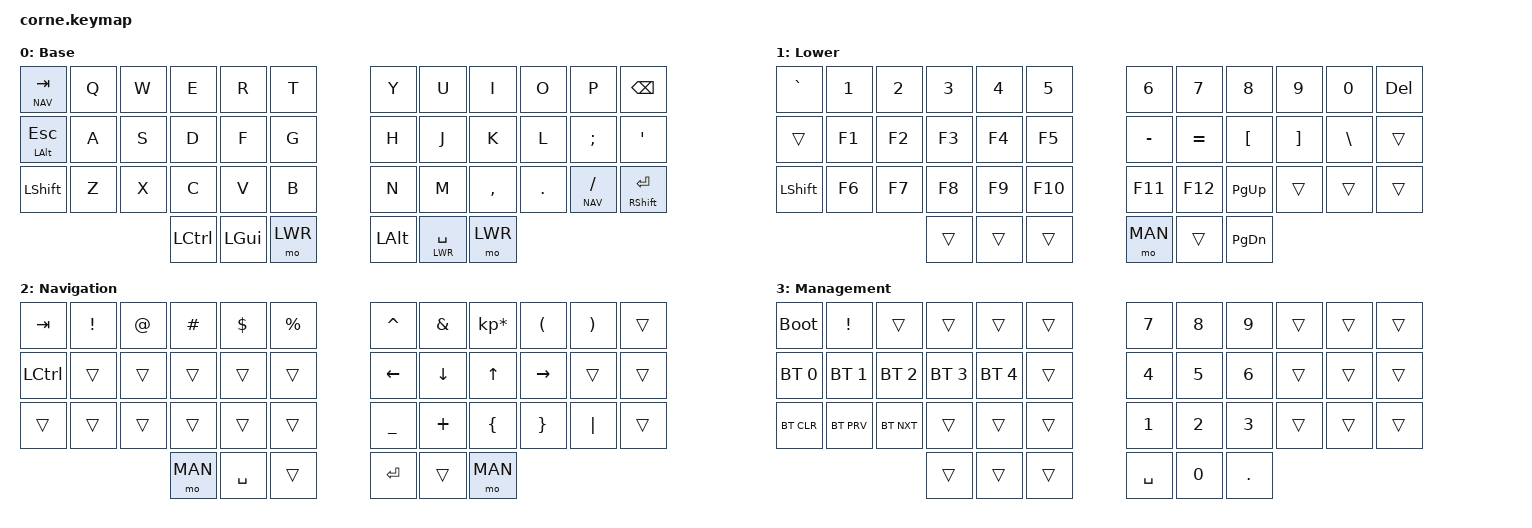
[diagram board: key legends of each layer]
/*
 * Copyright (c) 2020 The ZMK Contributors
 *
 * SPDX-License-Identifier: MIT
 */

#include <behaviors.dtsi>
#include <dt-bindings/zmk/keys.h>
#include <dt-bindings/zmk/bt.h>

#define LWR 1
#define NAV 2
#define MAN 3


/ {
        keymap {
                compatible = "zmk,keymap";

                default_layer {
// -----------------------------------------------------------------------------------------
// |  TAB     |  Q  |  W  |  E  |  R  |  T  |   |  Y  |  U   |  I  |  O  |  P     | BKSP      |
// | ESC/ALT  |  A  |  S  |  D  |  F  |  G  |   |  H  |  J   |  K  |  L  |  ;     |  '        |
// | SHFT     |  Z  |  X  |  C  |  V  |  B  |   |  N  |  M   |  ,  |  .  |  /NAV  | RET/RSHFT |
//                    | CTRL|LGUI| MO1|       | LALT | SPC  | MO1 |
                        label = "Base";
                        bindings = <
   &lt NAV TAB  &kp Q &kp W &kp E &kp R &kp T   /**/  &kp Y     &kp U          &kp I     &kp O   &kp P          &kp BSPC
   &mt LALT ESC &kp A &kp S &kp D &kp F &kp G   /**/  &kp H     &kp J          &kp K     &kp L   &kp SEMI       &kp SQT
   &kp LSHFT    &kp Z &kp X &kp C &kp V &kp B   /**/  &kp N     &kp M          &kp COMMA &kp DOT &lt NAV FSLH   &mt RSHFT RET
                    &kp LCTRL &kp LGUI &mo LWR  /**/  &kp LALT  &lt LWR SPACE  &mo LWR
                        >;
                };
                lower_layer {

// -----------------------------------------------------------------------------------------
// |  GRV |  1  |  2  |  3  |  4  |  5  |     |  6  |  7  |  8  |  9  |  0  | DEL  |
// |      | F1  | F2  | F3  | F4  | F5  |     |  -  |  =  |  [  |  ]  |  \  |      |
// | SHFT | F6  | F7  | F8  | F9  | F10 |     |  F11| F12  |PGUP|    |     |      |
//                    |     |     |     |     | MAN |      |PGDN|
                        label = "Lower";
                        bindings = <
   &kp GRAVE  &kp N1  &kp N2  &kp N3  &kp N4  &kp N5  /**/    &kp N6    &kp N7    &kp N8      &kp N9    &kp N0   &kp DEL
   &trans     &kp F1  &kp F2  &kp F3  &kp F4  &kp F5  /**/    &kp MINUS &kp EQUAL &kp LBKT    &kp RBKT  &kp BSLH &trans
   &kp LSHFT  &kp F6  &kp F7  &kp F8  &kp F9  &kp F10 /**/    &kp F11   &kp F12   &kp PG_UP   &trans    &trans   &trans
                           &trans   &trans    &trans  /**/    &mo MAN   &trans    &kp PG_DN
                        >;
                };

                nav_layer {
// -----------------------------------------------------------------------------------------
// |  TAB |  !  |  @  |  #  |  $  |  %  |      |  ^  |  &  |  *  |  (  |  )  | BKSP |
// | BTCLR| BT1 | BT2 | BT3 | BT4 | BT5 |      | LFT | DWN |  UP | RGT |     |      |
// |      |     |     |     |     |     |      |     |     |     |     |     |      |
//                    |     | MAN |     |      | ENT |     | MAN |
                        label = "Navigation";
                        bindings = <
   &kp  TAB  &kp EXCL &kp AT &kp HASH &kp DLLR &kp PRCNT /**/    &kp CARET &kp AMPS  &kp KP_MULTIPLY &kp LPAR  &kp RPAR &trans
   &kp LCTRL &trans   &trans &trans    &trans    &trans   /**/    &kp LEFT  &kp DOWN  &kp UP          &kp RIGHT &trans   &trans
   &trans    &trans   &trans &trans    &trans    &trans   /**/    &kp UNDER &kp PLUS  &kp LBRC        &kp RBRC  &kp PIPE &trans
                    	     &mo MAN   &kp SPACE &trans   /**/    &kp RET   &trans    &mo MAN
                        >;
                };
                
                 management_layer {
 // -----------------------------------------------------------------------------------------
 // |  BOOT|     |     |     |     |     |     |  7  |  8  |  9  |     |     |      |
 // | BT1  | BT2 | BT3 | BT4 | BT5 |     |     |  4  |  5  |  6  |     |     |      |
 // | BTCLR|     |     |     |     |     |     |  1  |  2  |  3  |     |     |      |
 //                    |     |     |     |     |     |  0  | .   |
                         label = "Management";
                         bindings = <
    &bootloader   &kp EXCL      &trans        &trans        &trans       /**/    &trans    &kp N7  &kp N8  &kp N9  &trans  &trans  &trans
    &bt BT_SEL 0  &bt BT_SEL 1  &bt BT_SEL 2  &bt BT_SEL 3  &bt BT_SEL 4 /**/    &trans    &kp N4  &kp N5  &kp N6  &trans  &trans  &trans
    &bt BT_CLR    &bt BT_PRV    &bt BT_NXT    &trans        &trans       /**/    &trans    &kp N1  &kp N2  &kp N3  &trans  &trans  &trans
                                &trans        &trans        &trans       /**/    &kp SPACE &kp N0  &kp DOT
                         >;
                 };
         };
};
